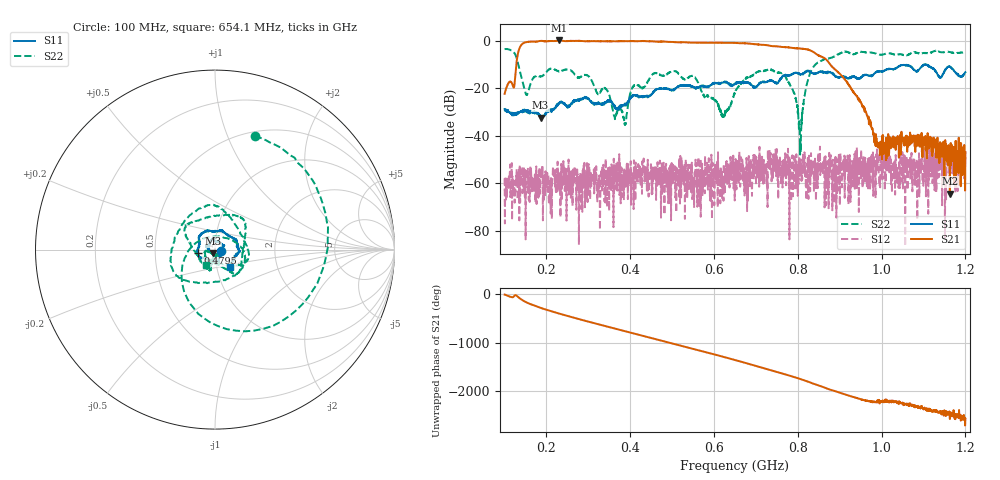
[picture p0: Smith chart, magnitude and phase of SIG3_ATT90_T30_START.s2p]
# Hz S RI R 50
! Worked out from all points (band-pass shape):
!   1601 points, 100 MHz to 1.2 GHz, reference 50 ohm
!   highest |S21| = 0.18 dB at 230.6 MHz (marker M1); lowest = -64.4 dB at 1.163 GHz (marker M2)
!   |S21| within 3 dB of the highest: 136.2 MHz to 779.9 MHz (643.7 MHz wide, 141 % of centre); 781.907 MHz to 782.2051 MHz (298.1 kHz wide, 0.0381 % of centre)
!   lowest |S11| = -32.4 dB at 185.9 MHz (marker M3), VSWR 1.05, Z = 48.7 - j2.01 ohm
!   |S11| at or under -10 dB: start of sweep to 1.1 GHz; 1.100416 GHz to 1.102827 GHz (2.411 MHz wide, 0.219 % of centre); 1.107 GHz to end of sweep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
!   |S22| runs from -48.0 to -3.4 dB; largest |S21 - S12| = 1
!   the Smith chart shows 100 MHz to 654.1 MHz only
!   S11 on the Smith chart (normalised r, x): 100 MHz: 1.07, -0.02; 479.5 MHz: 0.82, -0.03; 654.1 MHz: 1.16, -0.23
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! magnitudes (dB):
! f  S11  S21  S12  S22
! 100 MHz  -28.7  -22.3  -58.0  -3.5
! 124.8 MHz  -31.1  -16.2  -64.1  -5.4
! 135.8 MHz  -30.1  -3.0  -53.6  -12.3
! 151.6 MHz  -29.2  -0.6  -56.6  -22.4
! 185.9 MHz  -32.4  0.0  -53.9  -15.1
! 230.6 MHz  -26.1  0.2  -62.7  -12.8
! 283.6 MHz  -24.6  -0.1  -55.8  -15.1
! 386.7 MHz  -26.5  -0.1  -54.6  -34.6
! 408 MHz  -23.0  0.0  -71.0  -19.1
! 467.1 MHz  -20.4  -0.3  -57.6  -13.9
! 479.5 MHz  -20.1  -0.2  -51.4  -14.8
! 551.7 MHz  -19.6  -0.8  -56.8  -15.1
! 621.8 MHz  -17.6  -0.8  -56.7  -31.8
! 650 MHz  -18.3  -0.8  -55.4  -21.6
! 654.1 MHz  -17.8  -0.9  -55.2  -20.3
! 762.8 MHz  -15.0  -2.6  -50.8  -13.6
! 790.9 MHz  -13.6  -3.0  -55.2  -21.8
! 805.4 MHz  -14.2  -3.2  -56.1  -48.0
! 833.6 MHz  -13.4  -4.3  -51.9  -12.0
! 1.017 GHz  -11.8  -40.3  -49.4  -5.2
! 1.163 GHz  -10.8  -64.4  -58.7  -4.7
! 1.2 GHz  -13.2  -47.0  -46.5  -4.6
